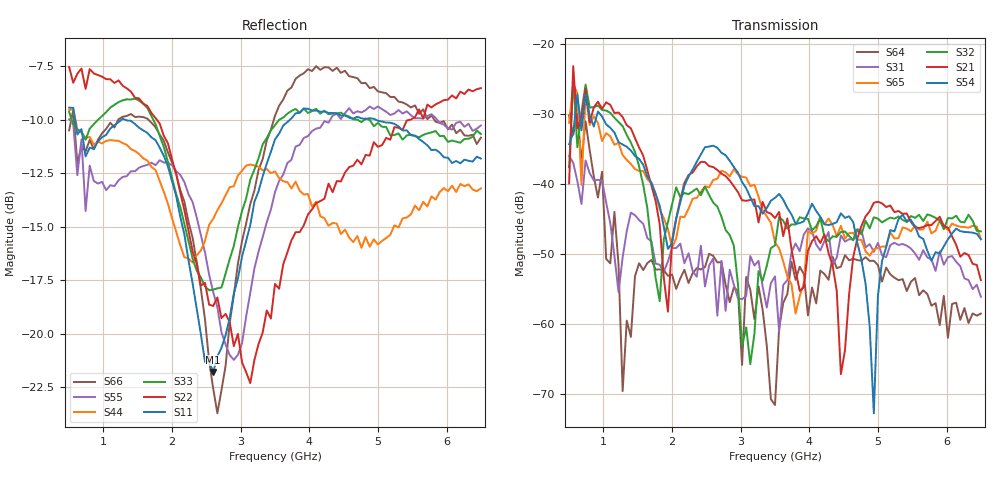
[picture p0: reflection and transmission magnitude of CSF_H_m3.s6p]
!Keysight Technologies,M9804A,MY58100912,A.14.10.03
!Date: Thursday, April 27, 2023 10:28:33
!Correction: S11(C  6-Port  )
!S12(C  6-Port  )
!S13(C  6-Port  )
!S14(C  6-Port  )
!S15(C  6-Port  )
!S16(C  6-Port  )
!S21(C  6-Port  )
!S22(C  6-Port  )
!S23(C  6-Port  )
!S24(C  6-Port  )
!S25(C  6-Port  )
!S26(C  6-Port  )
!S31(C  6-Port  )
!S32(C  6-Port  )
!S33(C  6-Port  )
!S34(C  6-Port  )
!S35(C  6-Port  )
!S36(C  6-Port  )
!S41(C  6-Port  )
!S42(C  6-Port  )
!S43(C  6-Port  )
!S44(C  6-Port  )
!S45(C  6-Port  )
!S46(C  6-Port  )
!S51(C  6-Port  )
!S52(C  6-Port  )
!S53(C  6-Port  )
!S54(C  6-Port  )
!S55(C  6-Port  )
!S56(C  6-Port  )
!S61(C  6-Port  )
!S62(C  6-Port  )
!S63(C  6-Port  )
!S64(C  6-Port  )
!S65(C  6-Port  )
!S66(C  6-Port  )
!S6P File: Measurement: :
# Hz S  RI  R 50
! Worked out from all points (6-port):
!   101 points, 500 MHz to 6.5 GHz, reference 50 ohm
!   strongest paths, dB at 500 MHz, 2 GHz, 3.5 GHz, 5 GHz, 6.5 GHz:
!     S54: -34.3, -48.5, -42.0, -56.0, -47.9
!     S21: -39.9, -48.1, -44.9, -42.5, -53.8
!     S32: -37.6, -42.9, -48.8, -45.0, -46.8
!     S65: -31.2, -49.1, -48.4, -49.2, -47.9
!     S31: -36.0, -49.2, -53.2, -48.4, -56.1
!     S64: -30.2, -53.0, -71.6, -51.6, -58.5
!   lowest |S11| = -21.8 dB at 2.6 GHz (marker M1), VSWR 1.18, Z = 42.7 + j1.9 ohm
!   |S11| at or under -10 dB: 586.6 MHz to 1.263 GHz (676.4 MHz wide, 73.1 % of centre); 1.313 GHz to 3.719 GHz (2.406 GHz wide, 95.6 % of centre); 4.967 GHz to end of sweep
